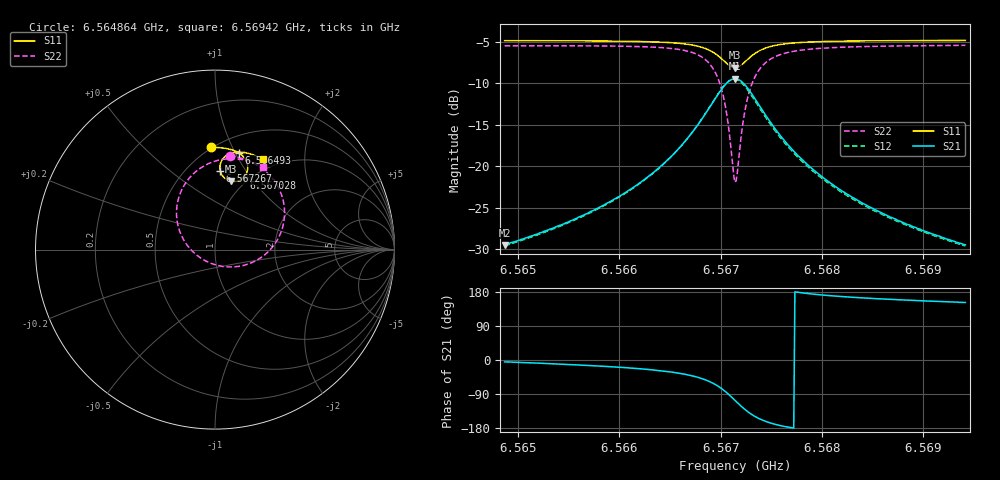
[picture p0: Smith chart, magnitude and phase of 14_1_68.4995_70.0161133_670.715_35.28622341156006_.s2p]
#  HZ  S  RI  R  50.00
! Rohde & Schwarz Vector Network Analyzer
! Rohde-Schwarz,ZNB20-2Port,1311601062101988,3.16
! Created: UTC 3/20/2024, 4:49:08 PM
! freq[Hz]  re:S11  im:S11  re:S21  im:S21  re:S12  im:S12  re:S22  im:S22
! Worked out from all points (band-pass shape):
!   401 points, 6.564864 GHz to 6.56942 GHz, reference 50 ohm
!   highest |S21| = -9.48 dB at 6.567142 GHz (marker M1); lowest = -29.5 dB at 6.564864 GHz (marker M2)
!   |S21| within 3 dB of the highest: 6.566915 GHz to 6.56737 GHz (455.1 kHz wide, 0.00693 % of centre)
!   lowest |S11| = -8.2 dB at 6.567142 GHz (marker M3), VSWR 2.28, Z = 43.3 + j39 ohm
!   |S11| at or under -10 dB: nowhere
!   |S22| runs from -22.0 to -5.4 dB; largest |S21 - S12| = 0.018
!   S11 on the Smith chart (normalised r, x): 6.564864 GHz: 0.49, +0.83; 6.566493 GHz: 0.67, +1.04; 6.567028 GHz: 0.94, +0.93; 6.567267 GHz: 0.71, +0.77; 6.56942 GHz: 0.86, +1.28
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6.5648641e9  -0.0218 0.5692  0.0334 -0.00295  0.0328 -0.00338  0.0838 0.5235
6.5656273e9  0.0433 0.5662  0.0487 -0.0117  0.0479 -0.0124  0.1643 0.5038
6.5660259e9  0.0811 0.5594  0.0634 -0.0228  0.0624 -0.0234  0.2186 0.4799
6.5663904e9  0.1211 0.5452  0.0864 -0.0456  0.0851 -0.0465  0.2855 0.4328
6.5664929e9  0.134 0.5381  0.0955 -0.0575  0.0941 -0.0588  0.3092 0.409
6.5666979e9  0.1619 0.5139  0.1168 -0.0997  0.115 -0.1018  0.3621 0.3266
6.5668574e9  0.1807 0.4754  0.1257 -0.1682  0.1223 -0.1721  0.3875 0.1943
6.5669599e9  0.179 0.4341  0.104 -0.2407  0.0968 -0.2459  0.3486 0.056
6.5670282e9  0.16 0.4023  0.0563 -0.295  0.0444 -0.2988  0.2572 -0.0438
6.5670852e9  0.1284 0.3827  -0.012 -0.3255  -0.0276 -0.3249  0.1287 -0.0939
6.5671194e9  0.1042 0.379  -0.0621 -0.3283  -0.0784 -0.3235  0.0378 -0.0931
6.5671421e9  0.0874 0.381  -0.0958 -0.3219  -0.1115 -0.3142  -0.0222 -0.0767
6.5671649e9  0.0714 0.3866  -0.1275 -0.3089  -0.142 -0.2985  -0.077 -0.0487
6.5672219e9  0.041 0.4124  -0.1882 -0.2552  -0.1971 -0.2405  -0.1756 0.056
6.5672674e9  0.0294 0.4385  -0.213 -0.2037  -0.2168 -0.1886  -0.2096 0.1502
6.5673586e9  0.032 0.4843  -0.2148 -0.1155  -0.2127 -0.104  -0.1974 0.304
6.5674952e9  0.0596 0.5221  -0.1774 -0.0428  -0.1733 -0.0364  -0.1169 0.4259
6.5676547e9  0.0918 0.5388  -0.1365 -0.00819  -0.1328 -0.00482  -0.0326 0.4808
6.5679053e9  0.1309 0.5442  -0.0957 0.00981  -0.0933 0.0114  0.0564 0.5044
6.5682242e9  0.1683 0.5403  -0.0676 0.0156  -0.0659 0.0164  0.127 0.5049
6.5686684e9  0.2099 0.529  -0.0468 0.0167  -0.0456 0.0172  0.1918 0.4921
6.5694202e9  0.2691 0.5037  -0.0296 0.0158  -0.0287 0.016  0.2676 0.4621
